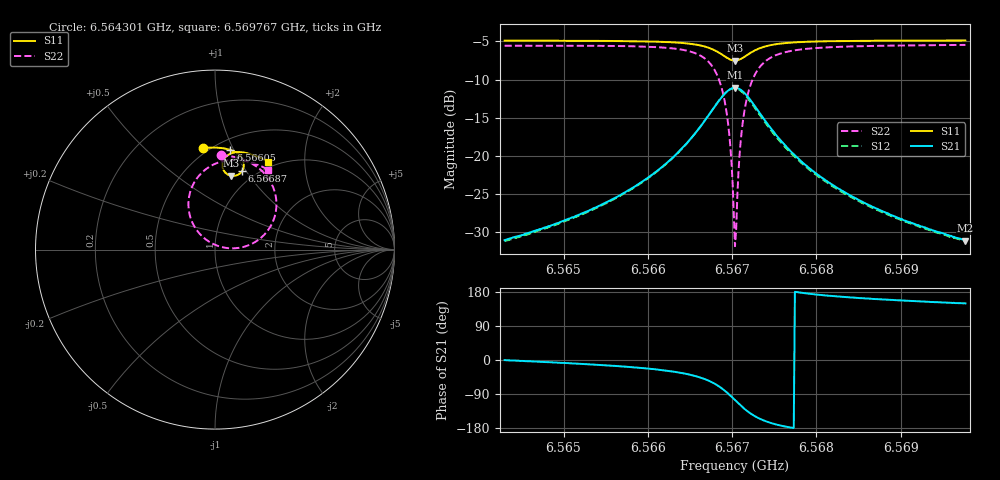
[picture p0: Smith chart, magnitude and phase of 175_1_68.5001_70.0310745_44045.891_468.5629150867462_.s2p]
#  HZ  S  RI  R  50.00
! Rohde & Schwarz Vector Network Analyzer
! Rohde-Schwarz,ZNB20-2Port,1311601062101988,3.16
! Created: UTC 3/20/2024, 4:56:21 PM
! freq[Hz]  re:S11  im:S11  re:S21  im:S21  re:S12  im:S12  re:S22  im:S22
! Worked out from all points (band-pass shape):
!   401 points, 6.564301 GHz to 6.569767 GHz, reference 50 ohm
!   highest |S21| = -11.08 dB at 6.567034 GHz (marker M1); lowest = -31.2 dB at 6.569767 GHz (marker M2)
!   |S21| within 3 dB of the highest: 6.56676 GHz to 6.567307 GHz (546.6 kHz wide, 0.00832 % of centre)
!   lowest |S11| = -7.5 dB at 6.567034 GHz (marker M3), VSWR 2.45, Z = 41.1 + j41.1 ohm
!   |S11| at or under -10 dB: nowhere
!   |S22| runs from -31.9 to -5.4 dB; largest |S21 - S12| = 0.013
!   S11 on the Smith chart (normalised r, x): 6.564301 GHz: 0.46, +0.78; 6.56605 GHz: 0.60, +0.97; 6.56687 GHz: 0.86, +0.96; 6.569767 GHz: 0.91, +1.33
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6.5643014e9  -0.0667 0.5654  0.0278 -0.000135  0.0274 -0.000574  0.0339 0.5263
6.5652169e9  0.00814 0.5679  0.0411 -0.00737  0.0403 -0.00799  0.1203 0.5133
6.5660505e9  0.0856 0.5552  0.0685 -0.0301  0.0676 -0.031  0.228 0.4653
6.5661324e9  0.0944 0.5522  0.0731 -0.0353  0.0722 -0.0362  0.242 0.4551
6.5664331e9  0.1289 0.5329  0.0941 -0.0675  0.0927 -0.0689  0.3009 0.3912
6.5666517e9  0.1542 0.502  0.1079 -0.1218  0.1055 -0.1241  0.3402 0.2865
6.5667747e9  0.1608 0.4709  0.1004 -0.1762  0.0959 -0.1793  0.332 0.1823
6.5668703e9  0.1519 0.4395  0.0676 -0.2298  0.0599 -0.2329  0.2733 0.0818
6.5669523e9  0.1264 0.4162  0.00702 -0.2674  -0.004 -0.2674  0.1618 0.0155
6.5669796e9  0.1143 0.412  -0.0195 -0.273  -0.0313 -0.2713  0.1137 0.00744
6.5670206e9  0.0943 0.4107  -0.0619 -0.2716  -0.0738 -0.2669  0.0384 0.0139
6.5670343e9  0.0877 0.4118  -0.076 -0.2686  -0.0875 -0.2625  0.0138 0.0214
6.567048e9  0.0812 0.4136  -0.0896 -0.2638  -0.1008 -0.2569  -0.00958 0.0312
6.5670616e9  0.0749 0.4161  -0.1026 -0.2579  -0.1132 -0.25  -0.0317 0.0432
6.5670889e9  0.0637 0.4233  -0.1262 -0.2427  -0.1354 -0.2332  -0.0709 0.0735
6.5671299e9  0.0509 0.4373  -0.1538 -0.2137  -0.1603 -0.2027  -0.1145 0.128
6.5671846e9  0.042 0.4589  -0.1749 -0.1708  -0.1777 -0.1597  -0.1438 0.2056
6.5672529e9  0.0424 0.4839  -0.1807 -0.1219  -0.1804 -0.112  -0.1449 0.2915
6.5674989e9  0.0795 0.5314  -0.1389 -0.0276  -0.1358 -0.0234  -0.0489 0.4494
6.5679498e9  0.1424 0.5429  -0.0793 0.00836  -0.0776 0.00964  0.0868 0.4993
6.5688653e9  0.2274 0.5222  -0.0385 0.0148  -0.0376 0.0152  0.2169 0.4814
6.5697672e9  0.2938 0.4896  -0.0238 0.0141  -0.0234 0.0144  0.2955 0.4447
